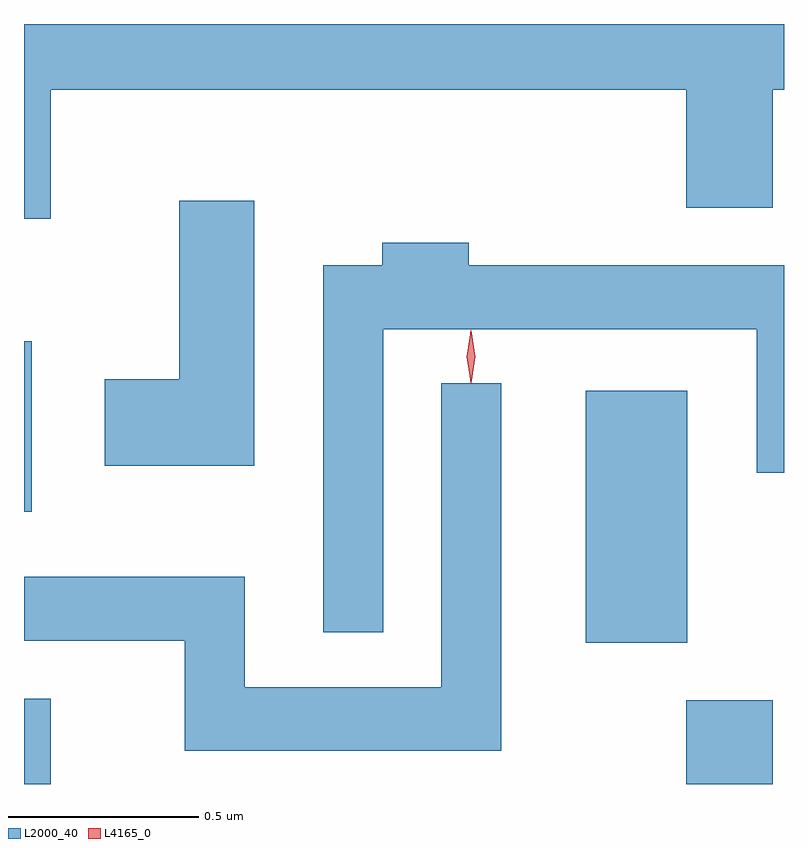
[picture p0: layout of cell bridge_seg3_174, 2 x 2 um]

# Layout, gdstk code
import gdstk
lib = gdstk.Library(unit=1e-6, precision=1e-09)
def R(c, l, rs):  # rectangles x0, y0, x1, y1
    for r in rs: c.add(gdstk.rectangle(r[:2], r[2:], *l))
def P(c, l, *ps):  # polygons
    for p in ps: c.add(gdstk.Polygon(p, *l))
L2000_40 = (2000, 40)
L4165_0 = (4165, 0)

bridge_seg3_174 = lib.new_cell('bridge_seg3_174')
R(bridge_seg3_174, L2000_40, [(891.248,1239.629,891.319,1239.854), (892.991,1239.629,893.219,1239.849), (892.726,1240.001,892.994,1240.664), (891.248,1240.346,891.269,1240.794)])
P(bridge_seg3_174, L2000_40, [(891.319,1241.456),(892.991,1241.456),(892.991,1241.146),(893.219,1241.146),(893.219,1241.456),(893.248,1241.456),(893.248,1241.629),(891.248,1241.629),(891.248,1241.116),(891.319,1241.116)],
  [(891.854,1241.164),(891.656,1241.164),(891.656,1240.694),(891.461,1240.694),(891.461,1240.466),(891.854,1240.466)],
  [(892.194,1240.826),(893.176,1240.826),(893.176,1240.448),(893.248,1240.448),(893.248,1240.994),(892.419,1240.994),(892.419,1241.054),(892.191,1241.054),(892.191,1240.994),(892.036,1240.994),(892.036,1240.028),(892.194,1240.028)],
  [(892.504,1240.683),(892.346,1240.683),(892.346,1239.884),(891.829,1239.884),(891.829,1240.174),(891.248,1240.174),(891.248,1240.006),(891.671,1240.006),(891.671,1239.716),(892.504,1239.716)])
P(bridge_seg3_174, L4165_0, [(892.423,1240.687),(892.423,1240.687),(892.413,1240.754),(892.423,1240.82),(892.423,1240.821),(892.424,1240.82),(892.433,1240.754),(892.424,1240.687)],
  [(892.424,1240.684),(892.415,1240.754),(892.424,1240.823),(892.425,1240.823),(892.425,1240.823),(892.435,1240.754),(892.425,1240.684),(892.425,1240.684)])

lib.write_gds('bridge_seg3_174.gds')
